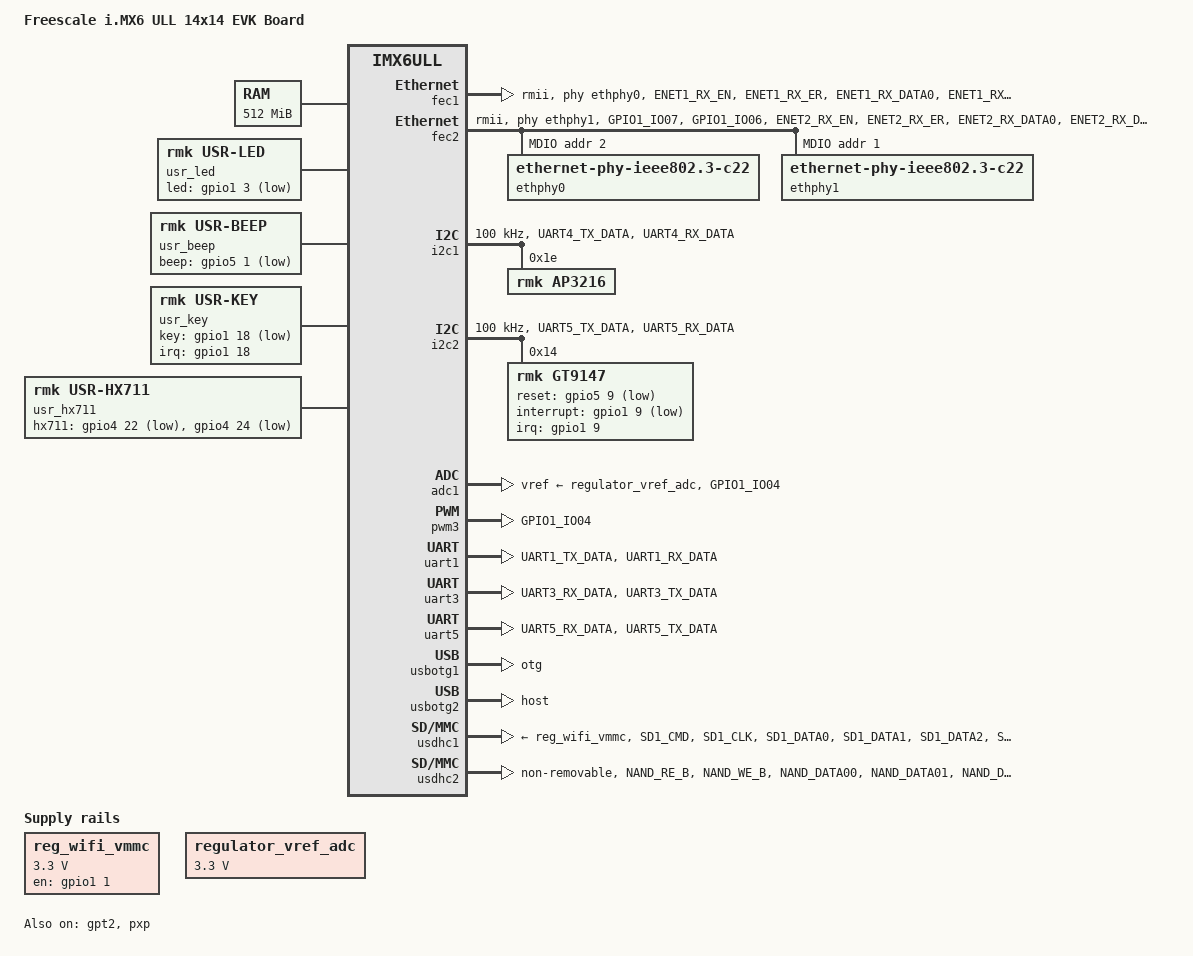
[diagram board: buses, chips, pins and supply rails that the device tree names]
/*
 * Copyright (C) 2016 Freescale Semiconductor, Inc.
 *
 * This program is free software; you can redistribute it and/or modify
 * it under the terms of the GNU General Public License version 2 as
 * published by the Free Software Foundation.
 */

/dts-v1/;

#include <dt-bindings/input/input.h>
#include "imx6ull.dtsi"

/ {
	model = "Freescale i.MX6 ULL 14x14 EVK Board";
	compatible = "fsl,imx6ull-14x14-evk", "fsl,imx6ull";

	chosen {
		stdout-path = &uart1;
	};

	memory {
		reg = <0x80000000 0x20000000>;
	};

	reserved-memory {
		#address-cells = <1>;
		#size-cells = <1>;
		ranges;

		linux,cma {
			compatible = "shared-dma-pool";
			reusable;
			size = <0x14000000>;
			linux,cma-default;
		};
	};

	pxp_v4l2 {
		compatible = "fsl,imx6ul-pxp-v4l2", "fsl,imx6sx-pxp-v4l2", "fsl,imx6sl-pxp-v4l2";
		status = "okay";
	};

	regulators {
		compatible = "simple-bus";
		#address-cells = <1>;
		#size-cells = <0>;

		reg_wifi_vmmc: regulator@1 {
			compatible = "regulator-fixed";
			regulator-name = "WIFI_3V3";
			regulator-min-microvolt = <3300000>;
			regulator-max-microvolt = <3300000>;
			gpio = <&gpio1 1 GPIO_ACTIVE_HIGH>;
			enable-active-high;
		};

		regulator_vref_adc: regulator@2 {
			compatible = "regulator-fixed";
			regulator-name = "VREF_3V";
			regulator-min-microvolt = <0>;
			regulator-max-microvolt = <3300000>;
		};
	};

	usr_led {
		compatible = "rmk,usr-led";
		pinctrl-0 = <&pinctrl_gpio_led>;
		led-gpio = <&gpio1 3 GPIO_ACTIVE_LOW>;
		status = "okay";
	};

	usr_beep {
		compatible = "rmk,usr-beep";
		pinctrl-0 = <&pinctrl_gpio_beep>;
		beep-gpio = <&gpio5 1 GPIO_ACTIVE_LOW>;
		status = "okay";
	};

	usr_key {
		compatible = "rmk,usr-key";
		#address-cells = <1>;
		#size-cells = <1>; 
		pinctrl-0 = <&pinctrl_gpio_key>;
		key-gpio = <&gpio1 18 GPIO_ACTIVE_LOW>;
		interrupt-parent = <&gpio1>;
		interrupts = <18 IRQ_TYPE_EDGE_FALLING>;
		status = "okay";
	};

	usr_hx711 {
		compatible = "rmk,usr-hx711";
		pinctrl-0 = <&pinctrl_hx711>;
		hx711-gpios = <&gpio4 22 GPIO_ACTIVE_LOW>,
					<&gpio4 24 GPIO_ACTIVE_LOW>;
		status = "okay";
	};
};

&cpu0 {
	arm-supply = <&reg_arm>;
	soc-supply = <&reg_soc>;
	clock-frequency = <800000000>;
};

&clks {
	assigned-clocks = <&clks IMX6UL_CLK_PLL4_AUDIO_DIV>;
	assigned-clock-rates = <786432000>;
};

&fec1 {
	pinctrl-names = "default";
	pinctrl-0 = <&pinctrl_enet1>;
	phy-mode = "rmii";
	phy-handle = <&ethphy0>;
	status = "okay";
};

&fec2 {
	pinctrl-names = "default";
	pinctrl-0 = <&pinctrl_enet2>;
	phy-mode = "rmii";
	phy-handle = <&ethphy1>;
	status = "okay";

	mdio {
		#address-cells = <1>;
		#size-cells = <0>;

		ethphy0: ethernet-phy@2 {
			compatible = "ethernet-phy-ieee802.3-c22";
			reg = <2>;
		};

		ethphy1: ethernet-phy@1 {
			compatible = "ethernet-phy-ieee802.3-c22";
			reg = <1>;
		};
	};
};

&gpc {
	fsl,cpu_pupscr_sw2iso = <0x1>;
	fsl,cpu_pupscr_sw = <0x0>;
	fsl,cpu_pdnscr_iso2sw = <0x1>;
	fsl,cpu_pdnscr_iso = <0x1>;
	fsl,ldo-bypass = <0>; /* DCDC, ldo-enable */
};

&i2c1 {
	clock-frequency = <100000>;
	pinctrl-names = "default";
	pinctrl-0 = <&pinctrl_i2c1>;
	status = "okay";

	ap3216@1e {
		compatible = "rmk,ap3216";
		reg = <0x1e>;
	};
};

&rngb {
	status = "disabled";	
};

&i2c2 {
	clock-frequency = <100000>;
	pinctrl-names = "default";
	pinctrl-0 = <&pinctrl_i2c2>;
	status = "okay";

	gt9147: gt9147@14 {
		compatible = "rmk,gt9147";
		reg = <0x14>;
		pinctrl-0 = <&pinctrl_tsc 
					&pinctrl_tsc_reset>;
		interrupt-parent = <&gpio1>;
		interrupts = <9 IRQ_TYPE_EDGE_FALLING>;
		reset-gpios = <&gpio5 9 GPIO_ACTIVE_LOW>;
		interrupt-gpios = <&gpio1 9 GPIO_ACTIVE_LOW>;
		status = "okay";
	};
};

&iomuxc {
	pinctrl-names = "default";

	imx6ul-evk {
		pinctrl_gpio_led: gpio-leds {
			fsl,pins = <
				MX6UL_PAD_GPIO1_IO03__GPIO1_IO03	0x17059
			>;
		};

		pinctrl_hx711: gpio-hx711 {
			fsl,pins = <
				MX6UL_PAD_CSI_DATA01__GPIO4_IO22		0x17059
				MX6UL_PAD_CSI_DATA03__GPIO4_IO24		0x17059
			>;
		};

		pinctrl_gpio_key: gpio-key {
			fsl,pins = <
				MX6UL_PAD_UART1_CTS_B__GPIO1_IO18	0x80000000
			>;
		};

		pinctrl_pwm3: pwm3grp {
			fsl,pins = <
				MX6UL_PAD_GPIO1_IO04__PWM3_OUT			0x110b0
			>;		
		};

		pinctrl_remote_control: remote_control {
			fsl,pins = <
				MX6UL_PAD_UART2_TX_DATA__UART2_DCE_TX	0x000010B1 /* remote control        add by pengjie 20190703*/
			>;
		};

		pinctrl_enet1: enet1grp {
			fsl,pins = <
				MX6UL_PAD_ENET1_RX_EN__ENET1_RX_EN	0x1b0b0
				MX6UL_PAD_ENET1_RX_ER__ENET1_RX_ER	0x1b0b0
				MX6UL_PAD_ENET1_RX_DATA0__ENET1_RDATA00	0x1b0b0
				MX6UL_PAD_ENET1_RX_DATA1__ENET1_RDATA01	0x1b0b0
				MX6UL_PAD_ENET1_TX_EN__ENET1_TX_EN	0x1b0b0
				MX6UL_PAD_ENET1_TX_DATA0__ENET1_TDATA00	0x1b0b0
				MX6UL_PAD_ENET1_TX_DATA1__ENET1_TDATA01	0x1b0b0
				MX6UL_PAD_ENET1_TX_CLK__ENET1_REF_CLK1	0x4001b031
			>;
		};

		pinctrl_enet2: enet2grp {
			fsl,pins = <
				MX6UL_PAD_GPIO1_IO07__ENET2_MDC		0x1b0b0
				MX6UL_PAD_GPIO1_IO06__ENET2_MDIO	0x1b0b0
				MX6UL_PAD_ENET2_RX_EN__ENET2_RX_EN	0x1b0b0
				MX6UL_PAD_ENET2_RX_ER__ENET2_RX_ER	0x1b0b0
				MX6UL_PAD_ENET2_RX_DATA0__ENET2_RDATA00	0x1b0b0
				MX6UL_PAD_ENET2_RX_DATA1__ENET2_RDATA01	0x1b0b0
				MX6UL_PAD_ENET2_TX_EN__ENET2_TX_EN	0x1b0b0
				MX6UL_PAD_ENET2_TX_DATA0__ENET2_TDATA00	0x1b0b0
				MX6UL_PAD_ENET2_TX_DATA1__ENET2_TDATA01	0x1b0b0
				MX6UL_PAD_ENET2_TX_CLK__ENET2_REF_CLK2	0x4001b031
			>;
		};

		pinctrl_i2c1: i2c1grp {
			fsl,pins = <
				MX6UL_PAD_UART4_TX_DATA__I2C1_SCL 0x4001b8b0
				MX6UL_PAD_UART4_RX_DATA__I2C1_SDA 0x4001b8b0
			>;
		};

		pinctrl_i2c2: i2c2grp {
			fsl,pins = <
				MX6UL_PAD_UART5_TX_DATA__I2C2_SCL 0x4001b8b0
				MX6UL_PAD_UART5_RX_DATA__I2C2_SDA 0x4001b8b0
			>;
		};

		pinctrl_qspi: qspigrp {
			fsl,pins = <
				MX6UL_PAD_NAND_WP_B__QSPI_A_SCLK      0x70a1
				MX6UL_PAD_NAND_READY_B__QSPI_A_DATA00 0x70a1
				MX6UL_PAD_NAND_CE0_B__QSPI_A_DATA01   0x70a1
				MX6UL_PAD_NAND_CE1_B__QSPI_A_DATA02   0x70a1
				MX6UL_PAD_NAND_CLE__QSPI_A_DATA03     0x70a1
				MX6UL_PAD_NAND_DQS__QSPI_A_SS0_B      0x70a1
			>;
		};

		pinctrl_uart1: uart1grp {
			fsl,pins = <
				MX6UL_PAD_UART1_TX_DATA__UART1_DCE_TX 0x1b0b1
				MX6UL_PAD_UART1_RX_DATA__UART1_DCE_RX 0x1b0b1
			>;
		};
		
		pinctrl_uart3: uart3grp {
			fsl,pins = <
				MX6UL_PAD_UART3_RX_DATA__UART3_DCE_RX 0x1b0b1
                MX6UL_PAD_UART3_TX_DATA__UART3_DCE_TX 0x1b0b1
			>;
		};
		
		pinctrl_uart5: uart5grp {
			fsl,pins = <
				MX6UL_PAD_UART5_RX_DATA__UART5_DCE_RX 0x1b0b1
				MX6UL_PAD_UART5_TX_DATA__UART5_DCE_TX 0x1b0b1
			>;
		};

		pinctrl_usdhc1: usdhc1grp {
			fsl,pins = <
				MX6UL_PAD_SD1_CMD__USDHC1_CMD     0x17059
				MX6UL_PAD_SD1_CLK__USDHC1_CLK     0x10071
				MX6UL_PAD_SD1_DATA0__USDHC1_DATA0 0x17059
				MX6UL_PAD_SD1_DATA1__USDHC1_DATA1 0x17059
				MX6UL_PAD_SD1_DATA2__USDHC1_DATA2 0x17059
				MX6UL_PAD_SD1_DATA3__USDHC1_DATA3 0x17059
			>;
		};

		pinctrl_usdhc1_100mhz: usdhc1grp100mhz {
			fsl,pins = <
				MX6UL_PAD_SD1_CMD__USDHC1_CMD     0x170b9
				MX6UL_PAD_SD1_CLK__USDHC1_CLK     0x100b9
				MX6UL_PAD_SD1_DATA0__USDHC1_DATA0 0x170b9
				MX6UL_PAD_SD1_DATA1__USDHC1_DATA1 0x170b9
				MX6UL_PAD_SD1_DATA2__USDHC1_DATA2 0x170b9
				MX6UL_PAD_SD1_DATA3__USDHC1_DATA3 0x170b9
			>;
		};

		pinctrl_usdhc1_200mhz: usdhc1grp200mhz {
			fsl,pins = <
				MX6UL_PAD_SD1_CMD__USDHC1_CMD     0x170f9
				MX6UL_PAD_SD1_CLK__USDHC1_CLK     0x100f9
				MX6UL_PAD_SD1_DATA0__USDHC1_DATA0 0x170f9
				MX6UL_PAD_SD1_DATA1__USDHC1_DATA1 0x170f9
				MX6UL_PAD_SD1_DATA2__USDHC1_DATA2 0x170f9
				MX6UL_PAD_SD1_DATA3__USDHC1_DATA3 0x170f9
			>;
		};

		pinctrl_usdhc2: usdhc2grp {
			fsl,pins = <
				MX6UL_PAD_NAND_RE_B__USDHC2_CLK     0x10069
				MX6UL_PAD_NAND_WE_B__USDHC2_CMD     0x17059
				MX6UL_PAD_NAND_DATA00__USDHC2_DATA0 0x17059
				MX6UL_PAD_NAND_DATA01__USDHC2_DATA1 0x17059
				MX6UL_PAD_NAND_DATA02__USDHC2_DATA2 0x17059
				MX6UL_PAD_NAND_DATA03__USDHC2_DATA3 0x17059
			>;
		};

		pinctrl_usdhc2_8bit: usdhc2grp_8bit {
			fsl,pins = <
				MX6UL_PAD_NAND_RE_B__USDHC2_CLK     0x10069
				MX6UL_PAD_NAND_WE_B__USDHC2_CMD     0x17059
				MX6UL_PAD_NAND_DATA00__USDHC2_DATA0 0x17059
				MX6UL_PAD_NAND_DATA01__USDHC2_DATA1 0x17059
				MX6UL_PAD_NAND_DATA02__USDHC2_DATA2 0x17059
				MX6UL_PAD_NAND_DATA03__USDHC2_DATA3 0x17059
				MX6UL_PAD_NAND_DATA04__USDHC2_DATA4 0x17059
				MX6UL_PAD_NAND_DATA05__USDHC2_DATA5 0x17059
				MX6UL_PAD_NAND_DATA06__USDHC2_DATA6 0x17059
				MX6UL_PAD_NAND_DATA07__USDHC2_DATA7 0x17059
			>;
		};

		pinctrl_usdhc2_8bit_100mhz: usdhc2grp_8bit_100mhz {
			fsl,pins = <
				MX6UL_PAD_NAND_RE_B__USDHC2_CLK     0x100b9
				MX6UL_PAD_NAND_WE_B__USDHC2_CMD     0x170b9
				MX6UL_PAD_NAND_DATA00__USDHC2_DATA0 0x170b9
				MX6UL_PAD_NAND_DATA01__USDHC2_DATA1 0x170b9
				MX6UL_PAD_NAND_DATA02__USDHC2_DATA2 0x170b9
				MX6UL_PAD_NAND_DATA03__USDHC2_DATA3 0x170b9
				MX6UL_PAD_NAND_DATA04__USDHC2_DATA4 0x170b9
				MX6UL_PAD_NAND_DATA05__USDHC2_DATA5 0x170b9
				MX6UL_PAD_NAND_DATA06__USDHC2_DATA6 0x170b9
				MX6UL_PAD_NAND_DATA07__USDHC2_DATA7 0x170b9
			>;
		};

		pinctrl_usdhc2_8bit_200mhz: usdhc2grp_8bit_200mhz {
			fsl,pins = <
				MX6UL_PAD_NAND_RE_B__USDHC2_CLK     0x100f9
				MX6UL_PAD_NAND_WE_B__USDHC2_CMD     0x170f9
				MX6UL_PAD_NAND_DATA00__USDHC2_DATA0 0x170f9
				MX6UL_PAD_NAND_DATA01__USDHC2_DATA1 0x170f9
				MX6UL_PAD_NAND_DATA02__USDHC2_DATA2 0x170f9
				MX6UL_PAD_NAND_DATA03__USDHC2_DATA3 0x170f9
				MX6UL_PAD_NAND_DATA04__USDHC2_DATA4 0x170f9
				MX6UL_PAD_NAND_DATA05__USDHC2_DATA5 0x170f9
				MX6UL_PAD_NAND_DATA06__USDHC2_DATA6 0x170f9
				MX6UL_PAD_NAND_DATA07__USDHC2_DATA7 0x170f9
			>;
		};
		
		pinctrl_ecspi3: ecspi3grp {
			fsl,pins = <
				MX6UL_PAD_UART2_RX_DATA__ECSPI3_SCLK       0x000010B1
                MX6UL_PAD_UART2_CTS_B__ECSPI3_MOSI         0x000010B1
                MX6UL_PAD_UART2_RTS_B__ECSPI3_MISO         0x000010B1
                MX6UL_PAD_UART1_CTS_B__GPIO1_IO18          0x000010B0 /*gpio cs0*/
				MX6UL_PAD_UART2_TX_DATA__GPIO1_IO20        0x000010B0 /*gpio cs1*/

			>;
		};

		pinctrl_tsc: tscgrp {
			fsl,pins = <
				MX6UL_PAD_GPIO1_IO09__GPIO1_IO09 		0xF080
			>;	
		};

		pinctrl_adc1: adc1grp {
			fsl,pins = <
				MX6UL_PAD_GPIO1_IO04__GPIO1_IO04 		0x400000b0
			>;
		};		
	};
};

&iomuxc_snvs {
	pinctrl-names = "default_snvs";
        imx6ul-evk {
			pinctrl_tsc_reset: tsc_reset {
				fsl,pins = <
					MX6ULL_PAD_SNVS_TAMPER9__GPIO5_IO09		0x10b0
				>;		
			};

			pinctrl_gpio_beep: beep {
				fsl,pins = <
					MX6ULL_PAD_SNVS_TAMPER1__GPIO5_IO01	0x400010B0
				>;
			};
		};
};

&adc1 {
	pinctrl-name = "default";
	pinctrl-0 = <&pinctrl_adc1>;
	num-channels = <1>;
	vref-supply = <&regulator_vref_adc>;
	status = "okay";
};

&pwm3 {
	pinctrl-names = "default";
	pinctrl-0 = <&pinctrl_pwm3>;
	status = "okay";
};

&uart1 {
	pinctrl-names = "default";
	pinctrl-0 = <&pinctrl_uart1>;
	status = "okay";
};

&uart3 {
	pinctrl-names = "default";
	pinctrl-0 = <&pinctrl_uart3>;
	status = "okay";
};

&uart5 {
	pinctrl-names = "default";
	pinctrl-0 = <&pinctrl_uart5>;
	status = "okay";
};


&usbotg1 {
	dr_mode = "otg";
	srp-disable;
	hnp-disable;
	adp-disable;
	status = "okay";
};

&usbotg2 {
	dr_mode = "host";
	disable-over-current;
	status = "okay";
};

&usbphy1 {
	tx-d-cal = <0x5>;
};

&usbphy2 {
	tx-d-cal = <0x5>;
};

&usdhc1 {
	pinctrl-names = "default", "state_100mhz", "state_200mhz";
	pinctrl-0 = <&pinctrl_usdhc1>;
	pinctrl-1 = <&pinctrl_usdhc1_100mhz>;
	pinctrl-2 = <&pinctrl_usdhc1_200mhz>;
	/*cd-gpios = <&gpio1 1 GPIO_ACTIVE_LOW>;*/
	keep-power-in-suspend;
	enable-sdio-wakeup;
	vmmc-supply = <&reg_wifi_vmmc>;
	status = "okay";
};

&usdhc2 {
	pinctrl-names = "default";
	pinctrl-0 = <&pinctrl_usdhc2>;
	non-removable;
	status = "okay";
};

&gpt2 {
    status = "okay";
};

&pxp {
	status = "okay";
};
